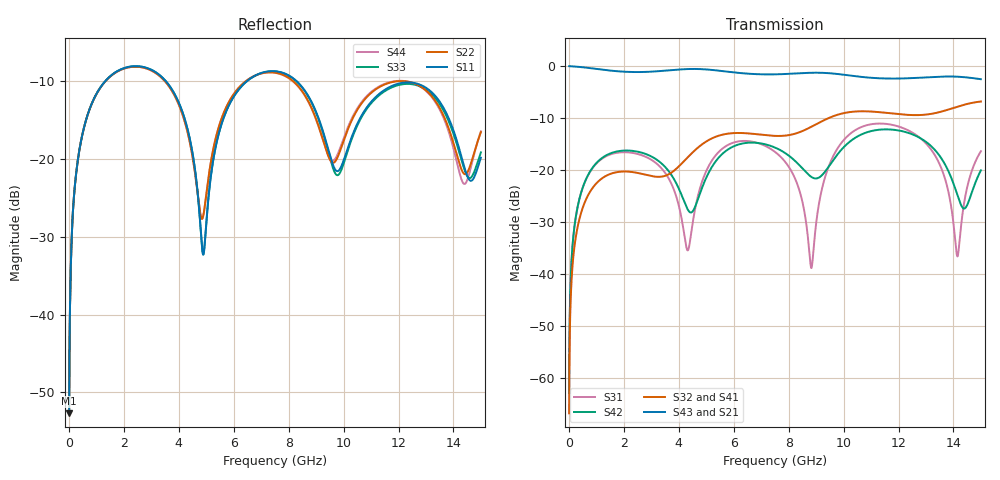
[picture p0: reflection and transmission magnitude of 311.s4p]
! Created with skrf 1.8.0 (http://scikit-rf.org).
# GHz S RI R 50.0
!freq ReS11 ImS11 ReS12 ImS12 ReS13 ImS13
! ReS14 ImS14
! ReS21 ImS21 ReS22 ImS22 ReS23 ImS23
! ReS24 ImS24
! ReS31 ImS31 ReS32 ImS32 ReS33 ImS33
! ReS34 ImS34
! ReS41 ImS41 ReS42 ImS42 ReS43 ImS43
! ReS44 ImS44
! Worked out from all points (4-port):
!   2499 points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, 5 MHz to 15 GHz, reference 50 ohm
!   strongest paths, dB at 5 MHz, 3.476 GHz, 7.19 GHz, 11.1 GHz, 15 GHz:
!     S43: 0.0, -0.9, -1.6, -2.3, -2.5
!     S21: 0.0, -0.9, -1.6, -2.3, -2.5
!     S32: -66.7, -21.1, -13.3, -8.8, -6.8
!     S41: -66.7, -21.1, -13.3, -8.8, -6.8
!     S42: -62.8, -19.2, -15.1, -12.4, -20.0
!     S31: -62.8, -20.3, -15.4, -11.1, -16.4
!   lowest |S11| = -52.7 dB at 5 MHz (marker M1), VSWR 1.00, Z = 50.2 + j0.141 ohm
!   |S11| at or under -10 dB: start of sweep to 1.311 GHz; 3.537 GHz to 6.464 GHz (2.926 GHz wide, 58.5 % of centre); 8.304 GHz to end of sweep
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0.005  0.00185 0.0014  0.9981 -0.00359  9.28e-05 0.00072  -9.03e-05 -0.000454
       0.9981 -0.00359  0.00185 0.0014  -9.03e-05 -0.000454  9.3e-05 0.00072
       9.28e-05 0.00072  -9.03e-05 -0.000454  0.00185 0.0014  0.9981 -0.00359
       -9.03e-05 -0.000454  9.3e-05 0.00072  0.9981 -0.00359  0.00185 0.0014
1.469362  0.2925 0.1691  0.5044 -0.7542  0.1271 0.06  -0.0913 0.000836
          0.5044 -0.7542  0.2894 0.1714  -0.0913 0.000896  0.1359 0.0467
          0.1271 0.06  -0.0913 0.000896  0.2924 0.1691  0.5044 -0.7542
          -0.0913 0.000836  0.1359 0.0467  0.5044 -0.7542  0.2894 0.1713
4.89579  0.0244 -0.000263  -0.9317 -0.0356  0.0327 0.0778  -0.00228 0.181
         -0.9317 -0.0356  0.0425 0.0106  -0.00133 0.181  -0.0189 0.0707
         0.0327 0.0778  -0.00133 0.181  0.0244 0.000103  -0.9317 -0.0357
         -0.00228 0.181  -0.0189 0.0707  -0.9317 -0.0357  0.0422 0.0111
7.340559  0.3684 0.00198  -0.0889 0.8267  0.151 -0.0542  0.2104 -0.0413
          -0.0889 0.8267  0.3624 -0.00259  0.2104 -0.043  0.1493 -0.0842
          0.151 -0.0542  0.2104 -0.043  0.367 0.00149  -0.0896 0.8271
          0.2104 -0.0413  0.1493 -0.0842  -0.0896 0.8271  0.3615 -0.00164
8.828679  0.1753 -0.1558  0.6273 0.5915  -0.0107 -0.0043  0.1754 -0.1937
          0.6273 0.5915  0.169 -0.1323  0.174 -0.1952  -0.0637 -0.058
          -0.0107 -0.0043  0.174 -0.1952  0.172 -0.156  0.6273 0.5922
          0.1754 -0.1937  -0.0637 -0.058  0.6273 0.5922  0.1695 -0.1291
10.02293  0.0967 0.028  0.824 -0.0361  0.0838 0.1785  -0.0358 -0.3512
          0.824 -0.0361  0.1218 0.0571  -0.0385 -0.3521  0.00879 0.168
          0.0838 0.1785  -0.0385 -0.3521  0.0916 0.0293  0.8241 -0.035
          -0.0358 -0.3512  0.00879 0.168  0.8241 -0.035  0.1264 0.0588
15  0.0919 0.0449  -0.7491 -0.00504  0.1054 0.1097  0.0211 0.4563
    -0.7491 -0.00504  0.1223 0.0857  0.0303 0.4558  0.0302 0.0951
    0.1054 0.1097  0.0303 0.4558  0.0966 0.0538  -0.7484 -0.00739
    0.0211 0.4563  0.0302 0.0951  -0.7484 -0.00739  0.1163 0.0964
